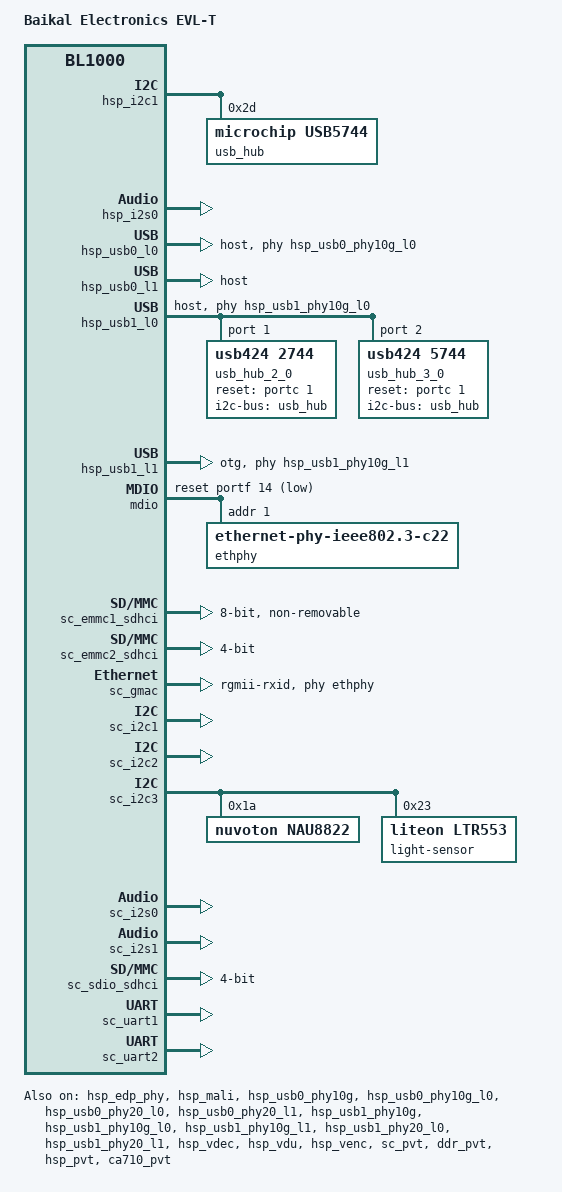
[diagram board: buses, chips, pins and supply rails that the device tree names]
// SPDX-License-Identifier: GPL-2.0
/*
 * Device tree source for Baikal Electronics EVL-T v2.0 board
 * Copyright (C) 2026 Baikal Electronics, JSC
 */

/dts-v1/;

#include "bl1000.dtsi"

/ {
	model = "Baikal Electronics EVL-T";
	compatible = "baikal,evl-t", "baikal,bl1000";

	aliases {
		ethernet0 = &sc_gmac;
	};

	cpus {
		baikal,demand-qos = <10>;
		baikal,prefetch-qos = <8>;
		cpu@0 {
			baikal,enable-cbusy-tuning = <1>;
		};
		cpu@100 {
			baikal,enable-cbusy-tuning = <1>;
		};
		cpu@200 {
			baikal,enable-cbusy-tuning = <1>;
		};
		cpu@300 {
			baikal,enable-cbusy-tuning = <1>;
		};
	};

	chosen { };

	sc_sound {
		compatible = "baikal,snd-soc-baikal";
		baikal,cpu-dai = <&sc_i2s0>;
		baikal,codec = <&nau8822>;
		baikal,codec-name = "nau8822";
		baikal,dai-name = "HiFi-sc-sound";
		baikal,stream-name = "HiFi-sc-sound";
	};
};

#if 0 /* TODO: v2.0 */
&ehsp_dp_phy {
	status = "okay";
};

&ehsp_vdu {
	status = "okay";
	baikal,dp-lanes = <4>;
	baikal,arqos = <15>;
};
#endif

&hsp_dmac {
	status = "okay";
};

&hsp_edp_phy {
	status = "okay";
};

&hsp_gpio32 {
	status = "okay";
};

#if 0 /* TODO */
&hsp_i2c0 { /* Connected to USB/DP MUX */
	status = "okay";
	pinctrl = <&hsp_lsp_pin0_i2c0_scl>,
		  <&hsp_lsp_pin1_i2c0_sda>;

};
#endif

&hsp_i2c1 { /* Connected to USB HUB */
	status = "okay";
	pinctrl = <&hsp_lsp_pin2_i2c1_scl>,
		  <&hsp_lsp_pin3_i2c1_sda>;

	usb_hub: usb-hub@2d {
		compatible = "microchip,usb5744";
		reg = <0x2d>;
	};
};

&hsp_i2s0 { /* Connected to M.2 Key B */
	status = "okay";
	system-clock-frequency = <24000000>;
	pinctrl = <&hsp_lsp_pin16_i2s0_sck>,
		  <&hsp_lsp_pin17_i2s0_ws>,
		  <&hsp_lsp_pin18_i2s0_sdo>,
		  <&hsp_lsp_pin19_i2s0_sdi>;
};

&hsp_lsp_pinctrl0 {
	status = "okay";
};

&hsp_lsp_pinctrl1 {
	status = "okay";
};

&hsp_lsp_pinctrl2 {
	status = "okay";
};

&hsp_mali {
	status = "okay";
	baikal,arqos = <10>;
	baikal,awqos = <10>;
};

&hsp_smmu {
	status = "okay";
};

&hsp_usb0_l0 { /* Connected to M.2 Key B */
	status = "okay";
	dr_mode = "host";
	maximum-speed = "super-speed";
	phys = <&hsp_usb0_phy10g_l0>;
	phy-names = "cdns3,usb3-phy";
};

&hsp_usb0_l1 { /* Connected to M.2 Key E */
	status = "okay";
	dr_mode = "host";
	maximum-speed = "high-speed";
};

&hsp_usb0_phy10g {
	status = "okay";
};

&hsp_usb0_phy10g_l0 {
	status = "okay";
};

&hsp_usb0_phy20_l0 {
	compatible = "cdns3,usb2-phy";
	status = "okay";
};

&hsp_usb0_phy20_l1 {
	compatible = "cdns3,usb2-phy";
	status = "okay";
};

&hsp_usb1_l0 { /* Connected to USB HUB */
	status = "okay";
	dr_mode = "host";
	maximum-speed = "super-speed";
	phys = <&hsp_usb1_phy10g_l0>;
	phy-names = "cdns3,usb3-phy";
	pinctrl = <&sc_lsp_pin1_gpio32>;
	#address-cells = <1>;
	#size-cells = <0>;

	/* 2.0 hub on port 1 */
	usb_hub_2_0: hub@1 {
		compatible = "usb424,2744";
		reg = <1>;
		peer-hub = <&usb_hub_3_0>;
		i2c-bus = <&usb_hub>;
		reset-gpios = <&portc 1 GPIO_ACTIVE_HIGH>;
	};

	/* 3.0 hub on port 2 */
	usb_hub_3_0: hub@2 {
		compatible = "usb424,5744";
		reg = <2>;
		peer-hub = <&usb_hub_2_0>;
		i2c-bus = <&usb_hub>;
		reset-gpios = <&portc 1 GPIO_ACTIVE_HIGH>;
	};
};

&hsp_usb1_l1 { /* Type C */
	status = "okay";
	dr_mode = "otg";
	maximum-speed = "super-speed";
	phys = <&hsp_usb1_phy10g_l1>;
	phy-names = "cdns3,usb3-phy";
};

&hsp_usb1_phy10g {
	status = "okay";
};

&hsp_usb1_phy10g_l0 {
	status = "okay";
};

&hsp_usb1_phy10g_l1 {
	status = "okay";
};

&hsp_usb1_phy20_l0 {
	compatible = "cdns3,usb2-phy";
	status = "okay";
};

&hsp_usb1_phy20_l1 {
	compatible = "cdns3,usb2-phy";
	status = "okay";
};

&hsp_vdec {
	status = "okay";
	baikal,arqos = <8>;
	baikal,awqos = <8>;
};

&hsp_vdu {
	status = "okay";
	baikal,dp-lanes = <4>;
	baikal,arqos = <15>;
	backlight {
		min-brightness-level = <10>;
		default-brightness-level = <60>;
		brightness-level-step = <2>;
		pwm-frequency = <20000>;
	};
};

&hsp_venc {
	status = "okay";
};

#if 1 /* TODO: v2.0 */
&ehsp_cmu0_pll {
	status = "disabled";
};

&ehsp_cmu0_clkch {
	status = "disabled";
};

&ehsp_cmu1_pll {
	status = "disabled";
};

&ehsp_cmu1_clkch {
	status = "disabled";
};

&ehsp_cmu2_pll {
	status = "disabled";
};

&ehsp_cmu2_clkch {
	status = "disabled";
};

&ehsp_pvt_clkch {
	status = "disabled";
};

&its0 {
	status = "disabled";
};

&its1 {
	status = "disabled";
};
#endif

&mdio {
	interrupt-parent = <&portf>;
	interrupts = <15 IRQ_TYPE_LEVEL_LOW>;
	pinctrl = <&hsp_lsp_pin14_gpio32>,
		  <&hsp_lsp_pin15_gpio32>;

	reset-gpios = <&portf 14 GPIO_ACTIVE_LOW>;
	reset-delay-us = <10000>;
	reset-post-delay-us = <10000>;

	ethphy: ethernet-phy@1 {
		compatible = "ethernet-phy-ieee802.3-c22";
		reg = <0x1>;
	};
};

&sc_dmac {
	status = "okay";
};

&sc_emmc1_sdhci {
	status = "okay";
	pinctrl = <&sc_emmc_mux_emmc1>,
		  <&sc_emmc_hc1_1_8v>,
		  <&sc_emmc_hc1_mem_pwrup>,
		  <&sc_emmc_pu_hc1_cmd_dat_0_7>,
		  <&sc_emmc_pd_hc1_dqs>;
	bus-width = <8>;
	no-sd;
	no-sdio;
	non-removable;
	mmc-hs400-1_8v;
	mmc-hs400-enhanced-strobe;
	sdhci-caps = <0x0 0x40000>;
	sdhci-caps-mask = <0x8000000 0x580000>; /* TODO: mask DMA support */
};

&sc_emmc2_sdhci {
	status = "okay";
	pinctrl = <&sc_emmc_mux_emmc2>,
		  <&sc_emmc_hc2_1_8v>,
		  <&sc_emmc_hc2_mem_pwrup>,
		  <&sc_emmc_pu_hc2_cmd_dat_0_7>,
		  <&sc_emmc_pd_hc2_dqs>;
	bus-width = <4>;
	sdhci-caps-mask = <0x8000000 0x580000>; /* TODO: mask DMA support */
	wp-inverted;
};

&sc_emmc_pinctrl {
	status = "okay";
};

&sc_emmc_pu_pinctrl {
	status = "okay";
};

&sc_emmc_pd_pinctrl {
	status = "okay";
};

&sc_gmac {
	status = "okay";
	pinctrl = <&sc_gmac_sdio_bit0_mode1>;

	phy-handle = <&ethphy>;
	phy-mode = "rgmii-rxid";
};

&sc_gmac_sdio_pinctrl {
	status = "okay";
};

&sc_gpio32 {
	status = "okay";
};

&sc_i2c1 { /* Connected to M.2 Key E */
	status = "okay";
	pinctrl = <&sc_lsp_pin0_i2c1_smbalert>,
		  <&sc_lsp_pin2_i2c1_scl>,
		  <&sc_lsp_pin3_i2c1_sda>;
};

&sc_i2c2 {
	status = "okay";
	pinctrl = <&sc_lsp_pin4_i2c2_scl>,
		  <&sc_lsp_pin5_i2c2_sda>;

#if 0 /* TODO */
	touchscreen@5d {
		compatible = "goodix,gt9271";
		reg = <0x5d>;
		pinctrl = <&sc_lsp_pin14_gpio32>,
			  <&sc_lsp_pin15_gpio32>;
		interrupt-parent = <&portc>;
		interrupts = <14 IRQ_TYPE_LEVEL_HIGH>;
		irq-gpios = <&portc 14 GPIO_ACTIVE_HIGH>;
		reset-gpios = <&portc 15 GPIO_ACTIVE_HIGH>;
	};
#endif
};

&sc_i2c3 {
	status = "okay";
	pinctrl = <&sc_lsp_pin6_i2c3_scl>,
		  <&sc_lsp_pin7_i2c3_sda>,
		  <&sc_lsp_pin29_gpio32>; /* Fingerprint */

	nau8822: nau8822@1a {
		compatible = "nuvoton,nau8822";
		#sound-dai-cells = <1>;
		reg = <0x1a>;
	};

	light-sensor@23 {
		compatible = "liteon,ltr553";
		reg = <0x23>;
	};

#if 0 /* TODO */
	haptics@48 {
		compatible = "dlg,da7280";
		reg = <0x48>;
		pinctrl = <&sc_lsp_pin26_gpio32>,
			  <&sc_lsp_pin27_gpio32>;
		interrupt-parent = <&portc>;
		interrupts = <26 IRQ_TYPE_LEVEL_HIGH>;
		dlg,actuator-type = "LRA";
		dlg,dlg,const-op-mode = <1>;
		dlg,dlg,periodic-op-mode = <1>;
		dlg,nom-microvolt = <2000000>;
		dlg,abs-max-microvolt = <2000000>;
		dlg,imax-microamp = <170000>;
		dlg,resonant-freq-hz = <180>;
		dlg,impd-micro-ohms = <10500000>;
	};

	imu@68 {
		compatible = "invensense,mpu9255";
		reg = <0x68>;
		pinctrl = <&sc_lsp_pin28_gpio32>,
			  <&sc_lsp_pin30_gpio32>;
		interrupt-parent = <&portc>;
		interrupts = <28 IRQ_TYPE_LEVEL_HIGH>;
	};

	pressure@77 {
		compatible = "bosch,bmp085";
		reg = <0x77>;
		vddd-supply = <&foo>;
		vdda-supply = <&bar>;
	};
#endif
};

&sc_i2s0 {
	status = "okay";
	system-clock-frequency = <24000000>;
	pinctrl = <&sc_lsp_pin16_i2s0_sck>,
		  <&sc_lsp_pin17_i2s0_ws>,
		  <&sc_lsp_pin18_i2s0_sdo>,
		  <&sc_lsp_pin19_i2s0_sdi>;
};

&sc_i2s1 { /* Connected to M.2 Key E */
	status = "okay";
	system-clock-frequency = <24000000>;
	pinctrl = <&sc_lsp_pin21_i2s1_sck>,
		  <&sc_lsp_pin22_i2s1_ws>,
		  <&sc_lsp_pin23_i2s1_sdo>,
		  <&sc_lsp_pin24_i2s1_sdi>;
};

&sc_lsp_pinctrl0 {
	status = "okay";
};

&sc_lsp_pinctrl1 {
	status = "okay";
};

&sc_lsp_pinctrl2 {
	status = "okay";
};

&sc_sdio_sdhci { /* Connected to M.2 Key E */
	status = "okay";
	pinctrl = <&sc_gmac_sdio_bit1_mode1>;
	bus-width = <4>;
	sdhci-caps-mask = <0x8000000 0x580000>;
	max-frequency = <25000000>;
};

&sc_smmu {
	status = "okay";
};

&sc_uart1 { /* Connected to M.2 Key E */
	status = "okay";
	pinctrl = <&sc_lsp_pin10_uart1_rxd>,
		  <&sc_lsp_pin11_uart1_txd>;
};

&sc_uart2 { /* Connected to USB-UART bridge (CP2105) */
	status = "okay";
	pinctrl = <&sc_lsp_pin12_uart2_rxd>,
		  <&sc_lsp_pin13_uart2_txd>;
};

&sc_pvt {
	status = "okay";
};

&ddr_pvt {
	status = "okay";
};

&hsp_pvt {
	status = "okay";
};

#if 0 /* TODO: v2.0 */
&ehsp_pvt {
	status = "okay";
};
#endif

&ca710_pvt {
	status = "okay";
};
